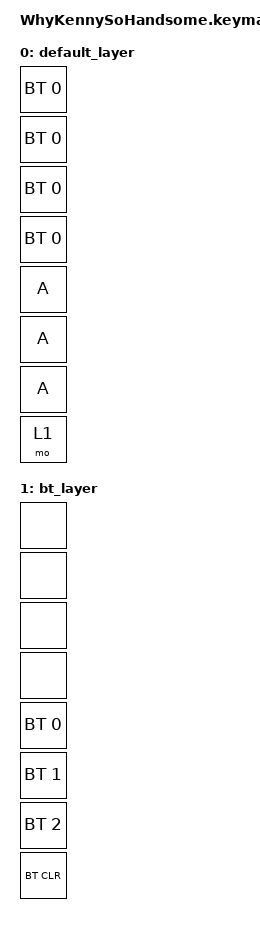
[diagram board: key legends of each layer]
#include <behaviors.dtsi>
#include <dt-bindings/zmk/keys.h>
#include <dt-bindings/zmk/bt.h>

/ {
    keymap{
        compatible = "zmk,keymap";

        default_layer{
            bindings = <
                &bt BT_SEL 0    
                &bt BT_SEL 0  
                &bt BT_SEL 0  
                &bt BT_SEL 0  
                &kp A 
                &kp A 
                &kp A 
                &mo 1
            >;
        };

  bt_layer {
      bindings = <
         &none 
       &none 
        &none 
         &none 
       &bt BT_SEL 0 
      &bt BT_SEL 1 
         &bt BT_SEL 2 
           &bt BT_CLR
       >;
 };
    };
};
